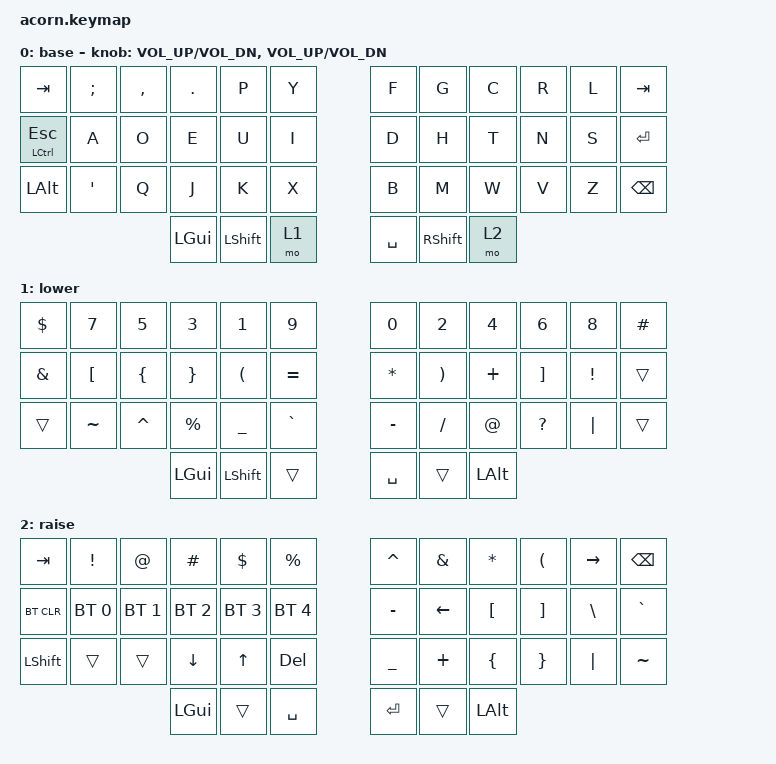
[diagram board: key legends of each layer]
#include <behaviors.dtsi>
#include <dt-bindings/zmk/keys.h>
#include <dt-bindings/zmk/bt.h>

/ {
    combos {
        compatible = "zmk,combos";

        combo_studio_unlock {
            timeout-ms = <50>;
            key-positions = <0 1>;
            bindings = <&studio_unlock>;
        };
    };

    keymap {
        compatible = "zmk,keymap";

        default_layer {
            display-name = "base";
            sensor-bindings = <&inc_dec_kp C_VOL_UP C_VOL_DN &inc_dec_kp C_VOL_UP C_VOL_DN>;
// -----------------------------------------------------------------------------------------
// |  TAB |  ;  |  ,  |  .  |  P  |  Y  |   |  F |  G   |  C  |  R  |  L  | TAB |
// | CTRL:ESC |  A  |  O  |  E  |  U  |  I  |   |  D  |  H   |  T  |  N  |  S  |  ENT   |
// | ALT |  '  |  Q  |  J  |  K  |  X  |   |  B  |  M   |  W  |  V  |  Z  | BSPC  |
//                    | GUI | SHIFT | lwr |   | spc | SHIFT  | upr |
//             bindings = <
// &kp TAB   &kp Q &kp W &kp E &kp R &kp T   &kp Y &kp U  &kp I     &kp O   &kp P    &kp BSPC
// &kp LCTRL &kp A &kp S &kp D &kp F &kp G   &kp H &kp J  &kp K     &kp L   &kp SEMI &kp SQT
// &kp LSHFT &kp Z &kp X &kp C &kp V &kp B   &kp N &kp M  &kp COMMA &kp DOT &kp FSLH &kp ESC
//                 &kp LGUI &mo 1 &kp SPACE   &kp RET &mo 2 &kp LALT
//             >;
//         };
//
//
            bindings = <
&kp TAB   &kp SEMI &kp COMMA &kp DOT &kp P  &kp Y   &kp F &kp G  &kp C     &kp R   &kp L    &kp TAB
&mt LCTRL ESC &kp A &kp O &kp E &kp U &kp I         &kp D &kp H  &kp T     &kp N   &kp S &kp RET
&kp LALT &kp SQT &kp Q &kp J &kp K &kp X            &kp B &kp M  &kp W &kp V &kp Z &kp BSPC
                        &kp LGUI &kp LSHFT &mo 1    &kp SPACE &kp RSHFT &mo 2
            >;
        };

        lower_layer {
            display-name = "lower";
// -----------------------------------------------------------------------------------------
// |  TAB |  1  |  2  |  3  |  4  |  5  |   |  6  |  7  |  8  |  9  |  0  | BSPC |
// | BTCLR| BT1 | BT2 | BT3 | BT4 | BT5 |   | LFT | DWN |  UP | RGT |     |      |
// | SHFT |     |     |     |     |     |   |     |     |     |     |     |      |
//                    | GUI |     | SPC |   | ENT |     | ALT |
            bindings = <
&kp DLLR    &kp N7       &kp N5       &kp N3       &kp N1       &kp N9         &kp N0    &kp N2   &kp N4   &kp N6    &kp N8     &kp HASH
&kp AMPS    &kp LBKT     &kp LBRC     &kp RBRC     &kp LPAR     &kp EQUAL      &kp STAR  &kp RPAR &kp PLUS &kp RBKT  &kp EXCL   &trans
&trans      &kp TILDE    &kp CARET    &kp PRCNT    &kp UNDER    &kp GRAVE      &kp MINUS  &kp FSLH &kp AT   &kp QMARK &kp PIPE  &trans
                                     &kp LGUI     &kp LSHFT       &trans      &kp SPACE  &trans   &kp LALT
            >;
        };
        raise_layer {
            display-name = "raise";
// -----------------------------------------------------------------------------------------
// |  TAB |  !  |  @  |  #  |  $  |  %  |   |  ^  |  &  |  *  |  (  |  )  | BSPC |
// | CTRL |     |     |     |     |     |   |  -  |  =  |  [  |  ]  |  \  |  `   |
// | SHFT |     |     |     |     |     |   |  _  |  +  |  {  |  }  | "|" |  ~   |
//                    | GUI |     | SPC |   | ENT |     | ALT |
            bindings = <
&kp  TAB  &kp EXCL &kp AT &kp HASH &kp DLLR &kp PRCNT   &kp CARET &kp AMPS  &kp ASTRK &kp LPAR &kp RIGHT &kp BSPC
&bt BT_CLR &bt BT_SEL 0 &bt BT_SEL 1 &bt BT_SEL 2 &bt BT_SEL 3 &bt BT_SEL 4      &kp MINUS &kp LEFT &kp LBKT  &kp RBKT &kp BSLH &kp GRAVE
&kp LSHFT &trans   &trans &kp DOWN   &kp UP   &kp DEL      &kp UNDER &kp PLUS  &kp LBRC  &kp RBRC &kp PIPE &kp TILDE
                          &kp LGUI &trans   &kp SPACE   &kp RET   &trans    &kp LALT
            >;
        };

        extra_layer0 {
            display-name = "extra_layer0";
            status = "reserved";
        };

        extra_layer1 {
            display-name = "extra_layer1";
            status = "reserved";
        };

        extra_layer2 {
            display-name = "extra_layer2";
            status = "reserved";
        };
    };
};
